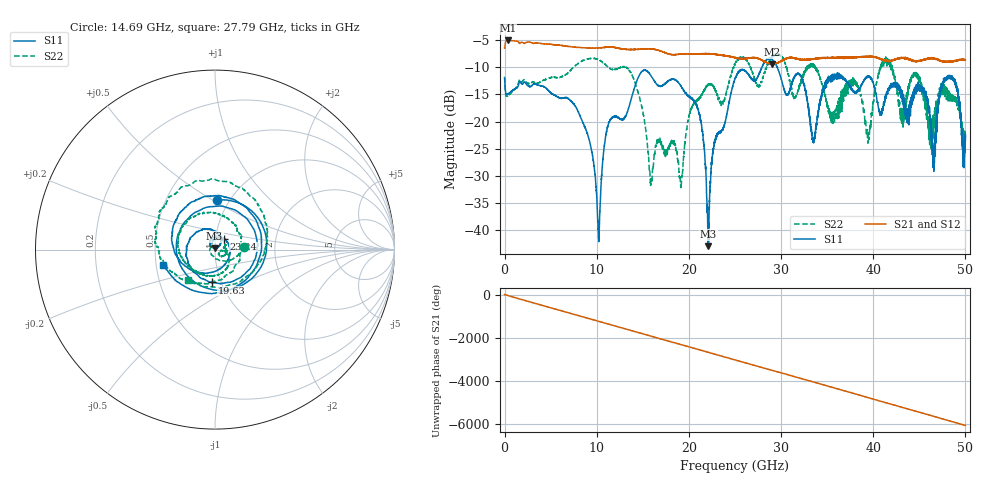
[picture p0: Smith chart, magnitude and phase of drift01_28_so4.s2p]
!Created with skrf (http://scikit-rf.org).
# Hz S RI R 50.0
!freq ReS11 ImS11 ReS21 ImS21 ReS12 ImS12 ReS22 ImS22
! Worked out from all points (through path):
!   10001 points, 300 kHz to 50 GHz, reference 50 ohm
!   highest |S21| = -5.05 dB at 375.3 MHz (marker M1); lowest = -9.4 dB at 29.05 GHz (marker M2)
!   group delay of S21, straight-line fit = 336 ps
!   lowest |S11| = -43.0 dB at 22.12 GHz (marker M3), VSWR 1.01, Z = 49.8 + j0.671 ohm
!   |S11| at or under -10 dB: start of sweep to 27.92 GHz; 29.59 GHz to end of sweep
!   |S22| runs from -32.2 to -7.5 dB; largest |S21 - S12| = 0.012
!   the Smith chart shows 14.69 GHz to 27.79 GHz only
!   S11 on the Smith chart (normalised r, x): 14.69 GHz: 0.87, +0.52; 19.63 GHz: 0.91, -0.34; 23.24 GHz: 1.10, +0.14; 27.79 GHz: 0.55, -0.10
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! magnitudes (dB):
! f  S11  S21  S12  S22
! 300 kHz  -12.0  -6.5  -6.5  -11.7
! 375.3 MHz  -14.9  -5.1  -5.1  -15.2
! 8.335 GHz  -19.5  -6.4  -6.4  -8.9
! 10.2 GHz  -41.2  -6.4  -6.4  -8.6
! 11.24 GHz  -20.6  -6.3  -6.2  -10.0
! 14.69 GHz  -11.2  -6.7  -6.7  -15.9
! 15.88 GHz  -11.5  -6.6  -6.6  -31.0
! 16.67 GHz  -13.4  -6.9  -6.9  -23.2
! 19.63 GHz  -14.7  -7.5  -7.5  -23.1
! 21.23 GHz  -19.5  -7.5  -7.5  -15.5
! 22.12 GHz  -43.0  -7.5  -7.5  -13.2
! 23.24 GHz  -22.0  -7.7  -7.7  -15.7
! 25 GHz  -12.1  -8.2  -8.3  -9.4
! 27.79 GHz  -10.5  -8.6  -8.6  -12.9
! 29.05 GHz  -8.6  -9.4  -9.4  -8.1
! 33.34 GHz  -22.5  -8.5  -8.5  -9.5
! 39.47 GHz  -11.7  -8.0  -8.0  -22.5
! 41.67 GHz  -13.9  -8.8  -8.8  -9.2
! 45.47 GHz  -14.3  -8.6  -8.6  -15.3
! 46.56 GHz  -26.6  -8.4  -8.3  -20.7
! 48.52 GHz  -11.6  -8.9  -9.0  -15.4
! 50 GHz  -23.5  -8.7  -8.7  -22.8
